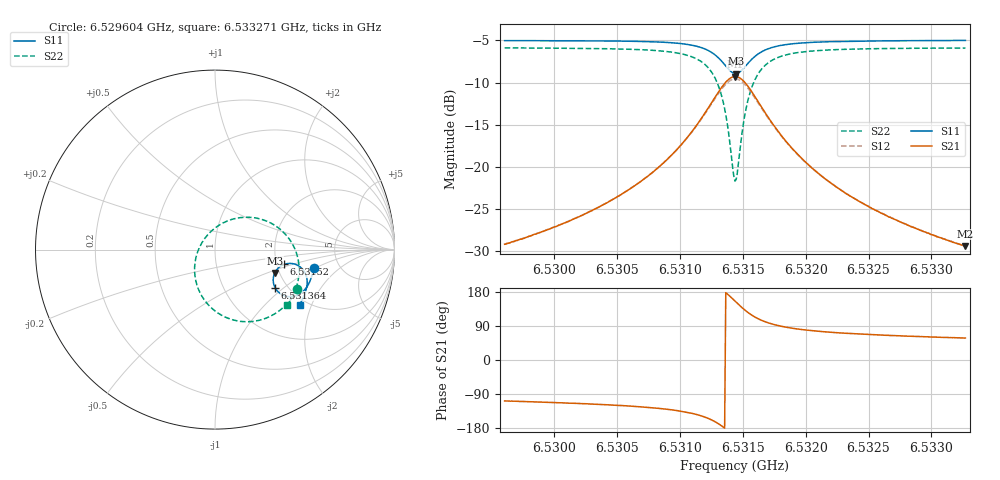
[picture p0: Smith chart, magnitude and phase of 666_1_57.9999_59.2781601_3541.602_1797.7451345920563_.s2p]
#  HZ  S  RI  R  50.00
! Rohde & Schwarz Vector Network Analyzer
! Rohde-Schwarz,ZNB20-2Port,1311601062101988,3.16
! Created: UTC 3/21/2024, 1:20:09 AM
! freq[Hz]  re:S11  im:S11  re:S21  im:S21  re:S12  im:S12  re:S22  im:S22
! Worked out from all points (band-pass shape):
!   401 points, 6.529604 GHz to 6.533271 GHz, reference 50 ohm
!   highest |S21| = -9.29 dB at 6.531437 GHz (marker M1); lowest = -29.4 dB at 6.533271 GHz (marker M2)
!   |S21| within 3 dB of the highest: 6.531256 GHz to 6.531622 GHz (366.5 kHz wide, 0.00561 % of centre)
!   lowest |S11| = -8.9 dB at 6.531447 GHz (marker M3), VSWR 2.11, Z = 94.3 - j28.2 ohm
!   |S11| at or under -10 dB: nowhere
!   |S22| runs from -21.7 to -5.9 dB; largest |S21 - S12| = 0.014
!   S11 on the Smith chart (normalised r, x): 6.529604 GHz: 3.24, -0.95; 6.531364 GHz: 1.73, -0.87; 6.53152 GHz: 2.20, -0.43; 6.533271 GHz: 1.83, -1.64
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6.5296042e9  0.5512 -0.101  -0.0108 -0.033  -0.0114 -0.0329  0.4582 -0.2181
6.5302183e9  0.5378 -0.1532  -0.0219 -0.0466  -0.023 -0.0461  0.4217 -0.2763
6.5305391e9  0.5254 -0.1839  -0.0348 -0.0597  -0.0366 -0.0588  0.3878 -0.3151
6.5308324e9  0.5051 -0.2173  -0.0611 -0.0791  -0.0634 -0.0771  0.3289 -0.3603
6.5310524e9  0.4726 -0.2469  -0.1094 -0.0991  -0.1124 -0.0951  0.2329 -0.3969
6.5312082e9  0.4215 -0.2625  -0.1889 -0.1006  -0.1906 -0.0922  0.0895 -0.3882
6.5312999e9  0.3708 -0.2497  -0.2665 -0.0618  -0.2638 -0.0504  -0.037 -0.3079
6.5313365e9  0.3489 -0.2321  -0.2987 -0.0252  -0.2924 -0.0137  -0.0834 -0.2401
6.531364e9  0.3349 -0.2122  -0.3176 0.0127  -0.3084 0.0234  -0.1069 -0.1735
6.531419e9  0.325 -0.1587  -0.3234 0.109  -0.3102 0.1142  -0.0977 -0.0147
6.5314374e9  0.3292 -0.1396  -0.3125 0.1422  -0.2989 0.1449  -0.0737 0.0369
6.5314465e9  0.3327 -0.1304  -0.3045 0.1579  -0.2911 0.1594  -0.0581 0.0608
6.5314649e9  0.3428 -0.1137  -0.2844 0.1862  -0.2719 0.1853  -0.0204 0.1031
6.5315199e9  0.3861 -0.082  -0.2048 0.2382  -0.1965 0.2339  0.119 0.1745
6.5315473e9  0.4094 -0.0771  -0.164 0.246  -0.158 0.2412  0.1876 0.1802
6.531584e9  0.4367 -0.079  -0.1168 0.2429  -0.1128 0.2384  0.2662 0.1664
6.5316757e9  0.4817 -0.1027  -0.0406 0.2063  -0.0389 0.2038  0.3888 0.089
6.5318132e9  0.5072 -0.1424  0.00392 0.1509  0.00516 0.1501  0.4543 -0.0207
6.5320515e9  0.5136 -0.19  0.0215 0.0958  0.0227 0.0954  0.4681 -0.1325
6.5323356e9  0.5071 -0.2268  0.0231 0.0645  0.0241 0.0642  0.4551 -0.2027
6.5326656e9  0.4955 -0.2589  0.0215 0.0455  0.0222 0.0454  0.4356 -0.2518
6.5332705e9  0.4712 -0.3059  0.018 0.0288  0.0186 0.0283  0.401 -0.3097
